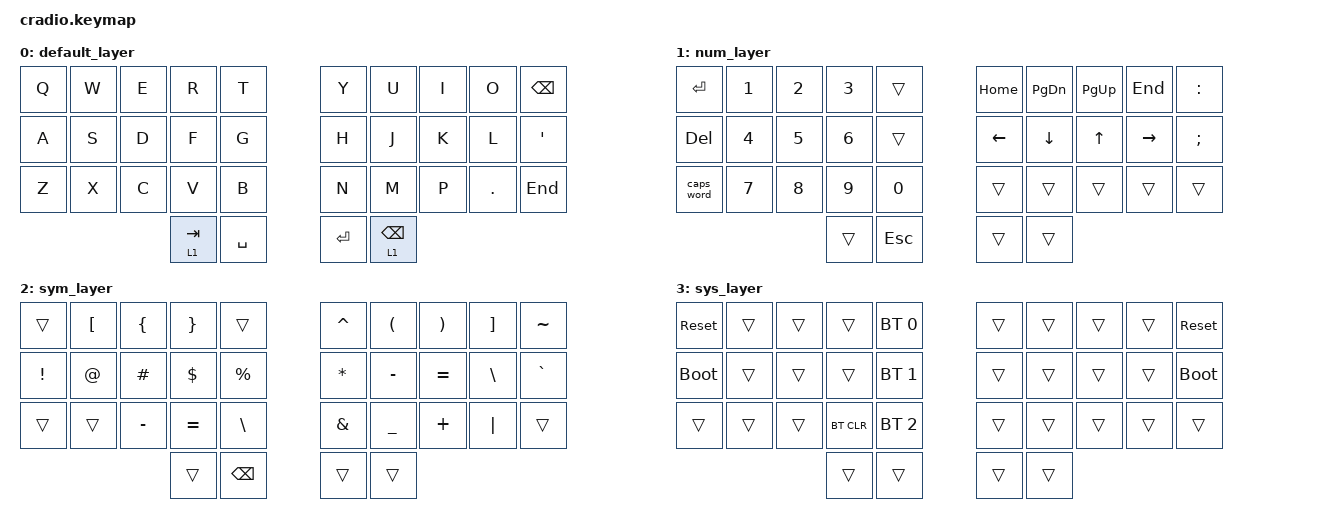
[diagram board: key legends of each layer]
#include <behaviors.dtsi>
#include <dt-bindings/zmk/keys.h>
#include <dt-bindings/zmk/bt.h>

/ {
    keymap {
        compatible = "zmk,keymap";

        default_layer {
            bindings = <
            &kp Q      &kp W      &kp E      &kp R      &kp T          &kp Y      &kp U      &kp I      &kp O      &kp BSPC
            &kp A      &kp S      &kp D      &kp F      &kp G          &kp H      &kp J      &kp K      &kp L      &kp SQT
            &kp Z      &kp X      &kp C      &kp V      &kp B          &kp N      &kp M      &kp P      &kp DOT    &kp END
                                            &lt 1 TAB   &kp SPACE      &kp ENTER  &lt 1 BSPC
            >;
        };

        num_layer {
            bindings = <
            &kp ENTER    &kp N1     &kp N2     &kp N3     &trans        &kp HOME   &kp PG_DN  &kp PG_UP  &kp END    &kp COLON
            &kp DEL      &kp N4     &kp N5     &kp N6     &trans        &kp LEFT   &kp DOWN   &kp UP     &kp RIGHT  &kp SEMI
            &caps_word   &kp N7     &kp N8     &kp N9     &kp N0        &trans     &trans     &trans     &trans     &trans
                                              &trans     &kp ESC        &trans     &trans
            >;
        };

        sym_layer {
            bindings = <
            &trans     &kp LBKT   &kp LBRC   &kp RBRC   &trans         &kp CARET  &kp LPAR   &kp RPAR   &kp RBKT   &kp TILDE
            &kp EXCL   &kp AT     &kp HASH   &kp DLLR   &kp PRCNT      &kp ASTRK  &kp MINUS  &kp EQUAL  &kp BSLH   &kp GRAVE
            &trans     &trans     &kp MINUS  &kp EQUAL  &kp BSLH       &kp AMPS   &kp UNDER  &kp PLUS   &kp PIPE   &trans
                                             &trans     &kp BSPC       &trans     &trans
            >;
        };

        sys_layer {
            bindings = <
           &sys_reset  &trans     &trans     &trans    &bt BT_SEL 0    &trans     &trans     &trans     &trans    &sys_reset
          &bootloader  &trans     &trans     &trans    &bt BT_SEL 1    &trans     &trans     &trans     &trans    &bootloader
            &trans     &trans     &trans    &bt BT_CLR &bt BT_SEL 2    &trans     &trans     &trans     &trans     &trans
                                             &trans     &trans         &trans     &trans
            >;
        };
    };
};
